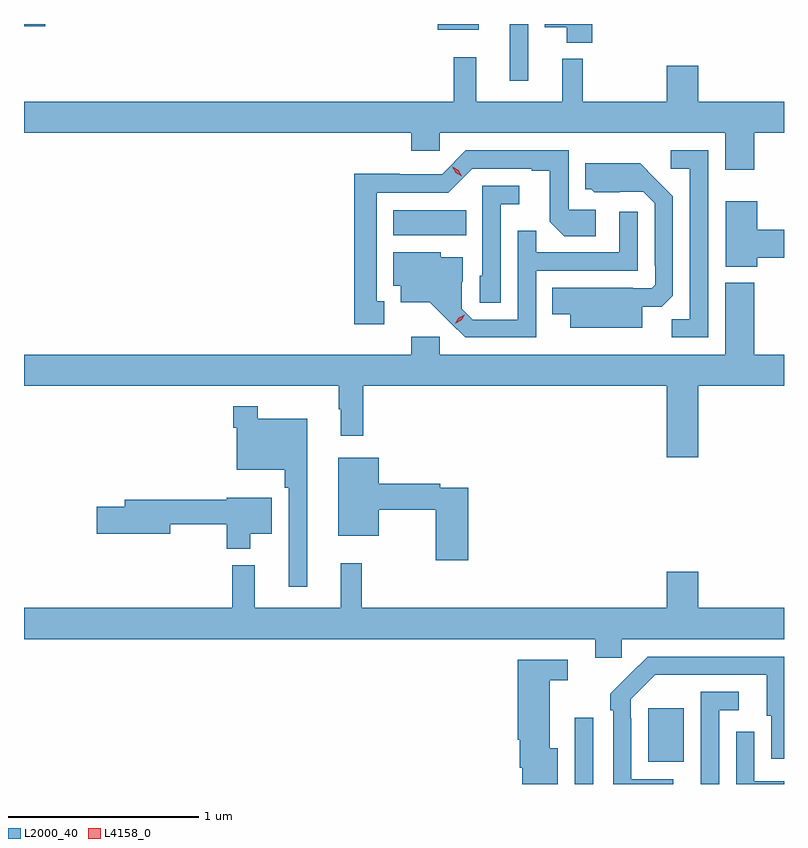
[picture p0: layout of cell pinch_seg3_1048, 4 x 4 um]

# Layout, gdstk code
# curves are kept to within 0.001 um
import gdstk
lib = gdstk.Library(unit=1e-6, precision=1e-09)
def R(c, l, rs):  # rectangles x0, y0, x1, y1
    for r in rs: c.add(gdstk.rectangle(r[:2], r[2:], *l))
def P(c, l, *ps):  # polygons
    for p in ps: c.add(gdstk.Polygon(p, *l))
L2000_40 = (2000, 40)
L4158_0 = (4158, 0)

pinch_seg3_1048 = lib.new_cell('pinch_seg3_1048')
R(pinch_seg3_1048, L2000_40, [(344.343,712.141,344.439,712.489), (344.729,712.259,344.917,712.54), (343.388,715.028,343.772,715.162), (344,715.842,344.097,716.141), (343.622,716.111,343.837,716.141), (341.444,716.128,341.557,716.141)])
P(pinch_seg3_1048, L2000_40, [(344.435,716.141),(344.186,716.141),(344.186,716.123),(344.3,716.123),(344.3,716.042),(344.435,716.042)],
  [(345.287,715.568),(345.444,715.568),(345.444,715.732),(344.992,715.732),(344.992,715.921),(344.828,715.921),(344.828,715.732),(344.386,715.732),(344.386,715.957),(344.276,715.957),(344.276,715.732),(343.823,715.732),(343.823,715.966),(343.705,715.966),(343.705,715.732),(341.444,715.732),(341.444,715.568),(343.481,715.568),(343.481,715.475),(343.632,715.475),(343.632,715.568),(345.134,715.568),(345.134,715.374),(345.287,715.374)],
  [(343.339,714.681),(343.3,714.681),(343.3,715.254),(343.677,715.254),(343.803,715.38),(344.117,715.38),(344.117,715.368),(344.211,715.368),(344.211,715.1),(344.287,715.024),(344.452,715.024),(344.452,715.164),(344.31,715.164),(344.31,715.476),(343.77,715.476),(343.644,715.35),(343.422,715.35),(343.422,715.352),(343.182,715.352),(343.182,714.561),(343.339,714.561)],
  [(345.045,715.476),(344.847,715.476),(344.847,715.38),(344.949,715.38),(344.949,714.587),(344.854,714.587),(344.854,714.492),(345.045,714.492)],
  [(344.698,714.653),(344.8,714.653),(344.859,714.712),(344.859,715.234),(344.687,715.408),(344.399,715.408),(344.399,715.272),(344.43,715.272),(344.446,715.256),(344.703,715.257),(344.763,715.197),(344.763,714.868),(344.766,714.868),(344.766,714.768),(344.748,714.75),(344.648,714.75),(344.648,714.754),(344.224,714.754),(344.224,714.614),(344.318,714.614),(344.318,714.542),(344.698,714.542)],
  [(343.953,715.193),(344.05,715.193),(344.05,715.29),(343.857,715.29),(343.857,714.816),(343.842,714.816),(343.842,714.673),(343.953,714.673)],
  [(345.304,714.911),(345.444,714.911),(345.444,715.058),(345.304,715.058),(345.304,715.207),(345.137,715.207),(345.137,714.863),(345.304,714.863)],
  [(344.139,714.843),(344.673,714.843),(344.673,715.153),(344.577,715.153),(344.577,714.939),(344.141,714.939),(344.141,715.052),(344.043,715.052),(344.043,714.585),(343.806,714.585),(343.749,714.642),(343.749,714.784),(343.753,714.784),(343.753,714.913),(343.638,714.913),(343.638,714.94),(343.388,714.94),(343.388,714.764),(343.427,714.764),(343.427,714.677),(343.579,714.677),(343.766,714.492),(344.139,714.492)],
  [(344.992,714.236),(345.444,714.236),(345.444,714.4),(345.287,714.4),(345.287,714.778),(345.134,714.778),(345.134,714.4),(343.632,714.4),(343.632,714.496),(343.481,714.496),(343.481,714.4),(341.444,714.4),(341.444,714.236),(343.101,714.236),(343.101,714.113),(343.112,714.113),(343.112,713.973),(343.229,713.973),(343.229,714.236),(344.828,714.236),(344.828,713.862),(344.992,713.862)],
  [(342.934,714.064),(342.673,714.064),(342.673,714.13),(342.544,714.13),(342.544,714.017),(342.564,714.017),(342.564,713.795),(342.817,713.795),(342.817,713.699),(342.837,713.699),(342.837,713.178),(342.934,713.178)],
  [(343.781,713.7),(343.634,713.7),(343.634,713.72),(343.312,713.72),(343.312,713.857),(343.097,713.857),(343.097,713.447),(343.312,713.447),(343.312,713.584),(343.61,713.584),(343.61,713.319),(343.781,713.319)],
  [(342.634,713.459),(342.748,713.459),(342.748,713.647),(342.512,713.647),(342.512,713.636),(341.975,713.636),(341.975,713.6),(341.826,713.6),(341.826,713.458),(342.214,713.458),(342.214,713.508),(342.512,713.508),(342.512,713.378),(342.634,713.378)],
  [(344.589,712.904),(345.444,712.904),(345.444,713.068),(344.992,713.068),(344.992,713.257),(344.828,713.257),(344.828,713.068),(343.222,713.068),(343.222,713.302),(343.112,713.302),(343.112,713.068),(342.659,713.068),(342.659,713.293),(342.541,713.293),(342.541,713.068),(341.444,713.068),(341.444,712.904),(344.45,712.904),(344.45,712.806),(344.589,712.806)],
  [(344.86,712.167),(344.64,712.167),(344.64,712.487),(344.637,712.487),(344.637,712.587),(344.766,712.716),(345.353,712.716),(345.353,712.5),(345.377,712.5),(345.377,712.275),(345.444,712.275),(345.444,712.812),(344.726,712.812),(344.529,712.617),(344.529,712.529),(344.544,712.529),(344.544,712.141),(344.86,712.141)],
  [(344.254,712.33),(344.212,712.33),(344.212,712.686),(344.305,712.686),(344.305,712.794),(344.042,712.794),(344.042,712.374),(344.054,712.374),(344.054,712.226),(344.066,712.226),(344.066,712.141),(344.254,712.141)],
  [(345.102,712.53),(345.205,712.53),(345.205,712.626),(345.006,712.626),(345.006,712.141),(345.102,712.141)],
  [(345.444,712.155),(345.288,712.155),(345.288,712.417),(345.192,712.417),(345.192,712.162),(345.193,712.162),(345.193,712.141),(345.444,712.141)])
P(pinch_seg3_1048, L4158_0, [(343.715,714.566),(343.715,714.566),(343.733,714.596),(343.764,714.611),(343.764,714.611),(343.764,714.611),(343.746,714.581),(343.716,714.566)],
  [(343.748,715.339),(343.716,715.358),(343.699,715.39),(343.699,715.391),(343.699,715.391),(343.731,715.372),(343.748,715.339),(343.748,715.339)])

lib.write_gds('pinch_seg3_1048.gds')
